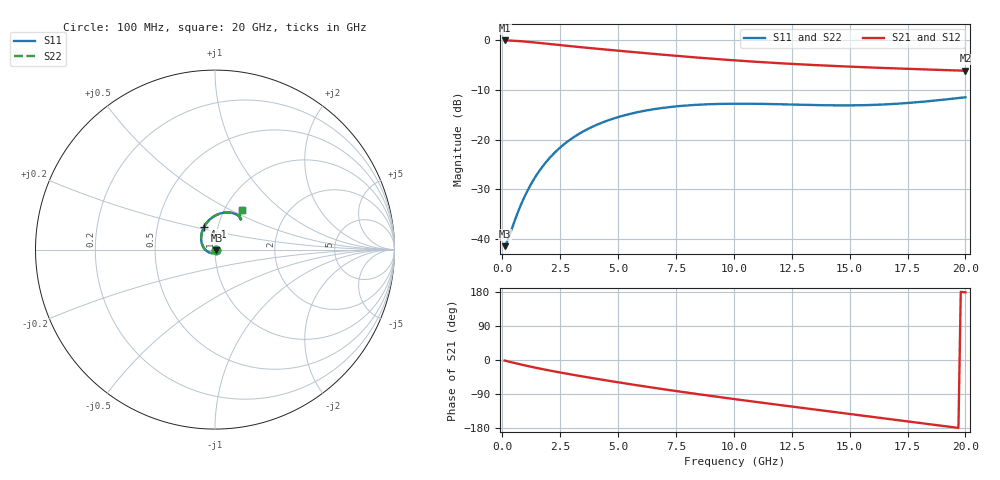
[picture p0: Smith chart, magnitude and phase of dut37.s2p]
! Created with skrf 1.9.0 (http://scikit-rf.org).
# GHz S RI R 50.0
!freq ReS11 ImS11 ReS21 ImS21 ReS12 ImS12 ReS22 ImS22
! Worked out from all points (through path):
!   200 points, 100 MHz to 20 GHz, reference 50 ohm
!   highest |S21| = -0.07 dB at 100 MHz (marker M1); lowest = -6.2 dB at 20 GHz (marker M2)
!   group delay of S21, straight-line fit = 24 ps
!   lowest |S11| = -41.4 dB at 100 MHz (marker M3), VSWR 1.02, Z = 50.8 - j0.341 ohm
!   |S11| at or under -10 dB: start of sweep to end of sweep
!   |S22| runs from -41.4 to -11.5 dB; largest |S21 - S12| = 2.6e-15
!   S11 on the Smith chart (normalised r, x): 100 MHz: 1.02, -0.01; 4.1 GHz: 0.86, +0.23; 20 GHz: 1.20, +0.57
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0.1  0.00784 -0.00336  0.9912 -0.0261  0.9912 -0.0261  0.00784 -0.00336
0.2  0.00687 -0.00643  0.9892 -0.0522  0.9892 -0.0522  0.00687 -0.00643
0.6  -0.00305 -0.0166  0.9695 -0.1526  0.9695 -0.1526  -0.00305 -0.0166
0.9  -0.0154 -0.0196  0.9445 -0.2217  0.9445 -0.2217  -0.0154 -0.0196
1.2  -0.0297 -0.0174  0.9132 -0.2842  0.9132 -0.2842  -0.0297 -0.0174
1.6  -0.0481 -0.00671  0.8652 -0.3573  0.8652 -0.3573  -0.0481 -0.00671
2  -0.0629 0.0107  0.8134 -0.4196  0.8134 -0.4196  -0.0629 0.0107
2.5  -0.0742 0.0382  0.7461 -0.4851  0.7461 -0.4851  -0.0742 0.0382
3  -0.0771 0.0679  0.6778 -0.5392  0.6778 -0.5392  -0.0771 0.0679
3.5  -0.0728 0.0969  0.609 -0.5838  0.609 -0.5838  -0.0728 0.0969
4.1  -0.0602 0.1283  0.5266 -0.6262  0.5266 -0.6262  -0.0602 0.1283
4.7  -0.0419 0.1546  0.4451 -0.6577  0.4451 -0.6577  -0.0419 0.1546
5.4  -0.0165 0.178  0.352 -0.6819  0.352 -0.6819  -0.0165 0.178
6.8  0.0371 0.2031  0.1774 -0.6956  0.1774 -0.6956  0.0371 0.2031
8.3  0.0863 0.2059  0.0136 -0.671  0.0136 -0.671  0.0863 0.2059
10.1  0.125 0.1928  -0.1487 -0.6063  -0.1487 -0.6063  0.125 0.1928
11.7  0.1413 0.1785  -0.2641 -0.5286  -0.2641 -0.5286  0.1413 0.1785
13.4  0.1452 0.1691  -0.3605 -0.4319  -0.3605 -0.4319  0.1452 0.1691
15.1  0.1417 0.1698  -0.4317 -0.3244  -0.4317 -0.3244  0.1417 0.1698
16.7  0.1379 0.1804  -0.4757 -0.2161  -0.4757 -0.2161  0.1379 0.1804
18.4  0.1389 0.1999  -0.4969 -0.0971  -0.4969 -0.0971  0.1389 0.1999
20  0.1477 0.222  -0.4921 0.0139  -0.4921 0.0139  0.1477 0.222
